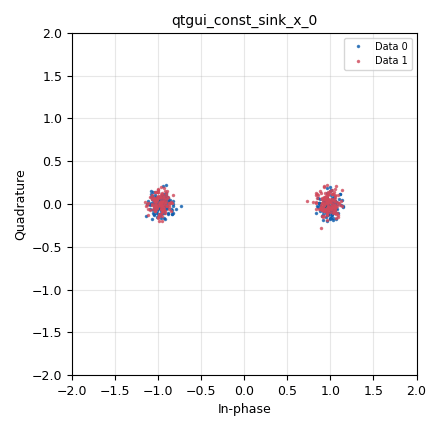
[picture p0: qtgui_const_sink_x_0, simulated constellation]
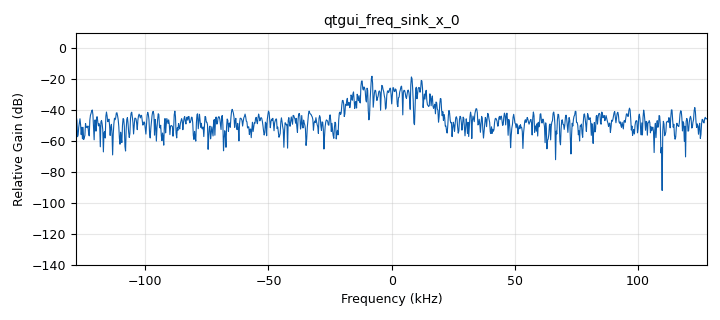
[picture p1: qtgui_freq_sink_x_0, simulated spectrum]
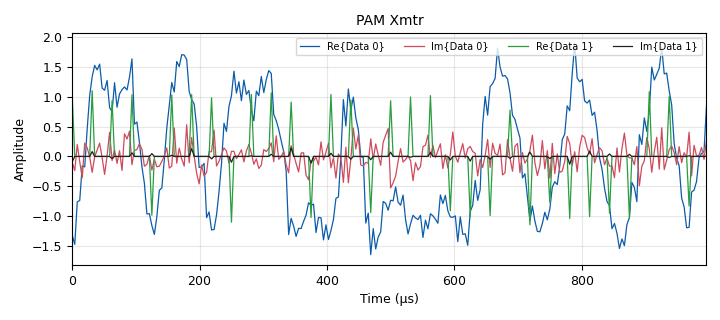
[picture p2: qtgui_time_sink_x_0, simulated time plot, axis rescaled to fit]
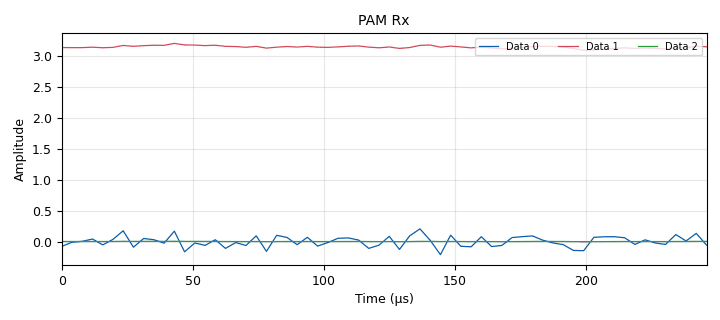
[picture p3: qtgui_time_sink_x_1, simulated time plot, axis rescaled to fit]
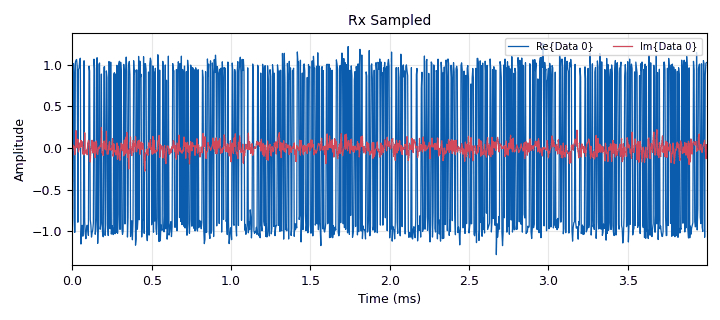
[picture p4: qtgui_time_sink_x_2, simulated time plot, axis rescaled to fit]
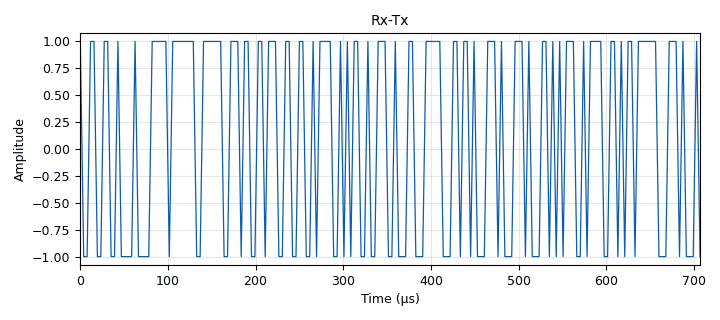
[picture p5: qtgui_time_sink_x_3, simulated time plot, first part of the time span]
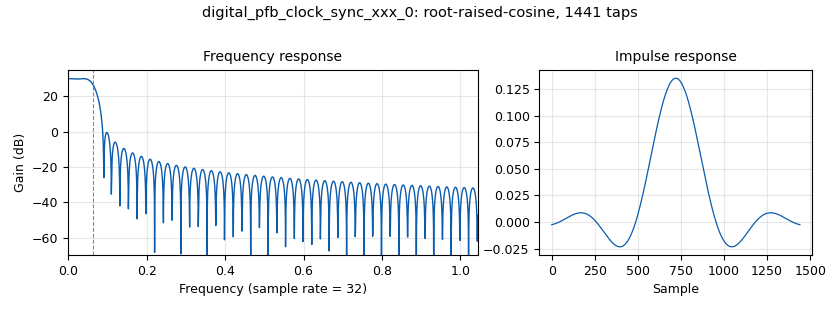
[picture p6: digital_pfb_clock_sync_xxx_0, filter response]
options:
  parameters:
    category: Custom
    generate_options: qt_gui
    id: top_block
    output_language: python
  states: {}

blocks:
- name: An
  id: variable_qtgui_range
  parameters:
    orient: Qt.Horizontal
    start: '0'
    step: '0.01'
    stop: '2'
    value: '0.3'
  states: {}
- name: G
  id: variable_qtgui_range
  parameters:
    orient: Qt.Horizontal
    start: '0'
    step: '0.1'
    stop: '2'
    value: '1'
  states: {}
- name: bpsk_const
  id: variable_constellation_rect
  parameters:
    const_points: '[-1,1]'
    imag_sect: '2'
    real_sect: '2'
    rot_sym: '2'
    sym_map: '[0, 1]'
    w_imag_sect: '1'
    w_real_sect: '1'
  states: {}
- name: fe
  id: variable_qtgui_range
  parameters:
    orient: Qt.Horizontal
    start: '-10'
    step: '0.1'
    stop: '10'
    value: '0'
  states: {}
- name: samp_rate
  id: variable
  parameters:
    value: '256000'
  states: {}
- name: samples_per_symbol
  id: variable
  parameters:
    value: '8'
  states: {}
- name: sym_dly
  id: variable_qtgui_range
  parameters:
    orient: Qt.Horizontal
    rangeType: int
    start: '0'
    step: '1'
    stop: '200'
    value: '7'
  states: {}
- name: theta1
  id: variable_qtgui_chooser
  parameters:
    num_opts: '4'
    option1: '0'
    option2: '90'
    option3: '180'
    type: real
    value: '0'
  states: {}
- name: theta2
  id: variable_qtgui_range
  parameters:
    orient: Qt.Horizontal
    start: '-180'
    step: '1'
    stop: '180'
    value: '0'
  states: {}
- name: analog_noise_source_x_0
  id: analog_noise_source_x
  parameters:
    amp: An
    noise_type: analog.GR_GAUSSIAN
    seed: '0'
    type: complex
  states: {}
- name: analog_sig_source_x_0
  id: analog_sig_source_x
  parameters:
    amp: '1'
    freq: fe
    offset: '0'
    phase: '0'
    samp_rate: samp_rate
    type: complex
    waveform: analog.GR_COS_WAVE
  states: {}
- name: blocks_add_const_vxx_0
  id: blocks_add_const_vxx
  parameters:
    const: '48'
    type: float
  states: {}
- name: blocks_add_const_vxx_0_0
  id: blocks_add_const_vxx
  parameters:
    const: '48'
    type: float
  states: {}
- name: blocks_add_xx_0
  id: blocks_add_xx
  parameters:
    type: complex
  states: {}
- name: blocks_add_xx_1
  id: blocks_add_xx
  parameters:
    type: float
  states: {}
- name: blocks_char_to_float_0_0_0
  id: blocks_char_to_float
  parameters:
    scale: '1'
  states: {}
- name: blocks_char_to_float_0_0_0_0
  id: blocks_char_to_float
  parameters:
    scale: '1'
  states: {}
- name: blocks_delay_0
  id: blocks_delay
  parameters:
    delay: int(3)
    type: complex
  states: {}
- name: blocks_delay_0_0
  id: blocks_delay
  parameters:
    delay: sym_dly
    type: byte
  states: {}
- name: blocks_delay_0_0_0
  id: blocks_delay
  parameters:
    delay: sym_dly*8
    type: byte
  states: {}
- name: blocks_file_sink_0
  id: blocks_file_sink
  parameters:
    file: /dev/pts/1
    type: byte
  states: {}
- name: blocks_file_sink_0_0_0
  id: blocks_file_sink
  parameters:
    file: /home/dfernandezp/sdr/BitsTx.txt
    type: byte
  states: {}
- name: blocks_file_sink_0_0_0_0
  id: blocks_file_sink
  parameters:
    file: /home/dfernandezp/sdr/BitsRx.txt
    type: byte
  states: {}
- name: blocks_float_to_uchar_0
  id: blocks_float_to_uchar
  parameters: {}
  states: {}
- name: blocks_float_to_uchar_0_0
  id: blocks_float_to_uchar
  parameters: {}
  states: {}
- name: blocks_multiply_const_vxx_0
  id: blocks_multiply_const_vxx
  parameters:
    const: G*numpy.exp(1j*numpy.pi*(theta1+theta2)/180.0)
    type: complex
  states: {}
- name: blocks_multiply_const_vxx_1
  id: blocks_multiply_const_vxx
  parameters:
    const: '-1'
    type: float
  states: {}
- name: blocks_multiply_xx_0
  id: blocks_multiply_xx
  parameters:
    type: complex
  states: {}
- name: blocks_throttle_0
  id: blocks_throttle
  parameters:
    samples_per_second: samp_rate
    type: complex
  states: {}
- name: blocks_unpack_k_bits_bb_0_0
  id: blocks_unpack_k_bits_bb
  parameters:
    k: '8'
  states: {}
- name: blocks_unpacked_to_packed_xx_0
  id: blocks_unpacked_to_packed_xx
  parameters:
    bits_per_chunk: '1'
    endianness: gr.GR_MSB_FIRST
    type: byte
  states: {}
- name: blocks_vector_source_x_0
  id: blocks_vector_source_x
  parameters:
    repeat: 'True'
    type: byte
    vector: list(ord(i) for i in 'The quick brown fox 0123456789...')
  states: {}
- name: digital_constellation_modulator_0
  id: digital_constellation_modulator
  parameters:
    constellation: bpsk_const
    differential: 'False'
    excess_bw: '0.35'
    samples_per_symbol: samples_per_symbol
  states: {}
- name: digital_constellation_receiver_cb_0
  id: digital_constellation_receiver_cb
  parameters:
    constellation: bpsk_const
    fmax: '100'
    fmin: '-100'
    loop_bw: '0.0625'
    showports: 'True'
  states: {}
- name: digital_pfb_clock_sync_xxx_0
  id: digital_pfb_clock_sync_xxx
  parameters:
    filter_size: '32'
    init_phase: '16'
    loop_bw: '0.06'
    max_dev: '1.5'
    osps: '1'
    sps: samples_per_symbol
    taps: firdes.root_raised_cosine(32,32,1.0/float(samples_per_symbol),0.35,45*32)
    type: ccf
  states: {}
- name: import_0
  id: import
  parameters:
    imports: import numpy
  states: {}
- name: interp_fir_filter_xxx_0
  id: interp_fir_filter_xxx
  parameters:
    interp: '8'
    taps: '1'
    type: ccc
  states: {}
- name: qtgui_const_sink_x_0
  id: qtgui_const_sink_x
  parameters:
    nconnections: '2'
    size: '256'
    type: complex
  states: {}
- name: qtgui_freq_sink_x_0
  id: qtgui_freq_sink_x
  parameters:
    bw: samp_rate
    fc: '0'
    fftsize: '1024'
    showports: 'True'
    type: complex
    wintype: firdes.WIN_BLACKMAN_hARRIS
  states: {}
- name: qtgui_time_sink_x_0
  id: qtgui_time_sink_x
  parameters:
    label1: ''
    label2: ''
    label3: ''
    label4: ''
    name: '"PAM Xmtr"'
    nconnections: '2'
    size: '256'
    srate: samp_rate
    type: complex
  states: {}
- name: qtgui_time_sink_x_1
  id: qtgui_time_sink_x
  parameters:
    label1: ''
    label2: ''
    label3: ''
    name: '"PAM Rx"'
    nconnections: '3'
    size: '64'
    srate: samp_rate
    type: float
  states: {}
- name: qtgui_time_sink_x_2
  id: qtgui_time_sink_x
  parameters:
    label1: ''
    label2: ''
    name: '"Rx Sampled"'
    size: '1024'
    srate: samp_rate
    type: complex
  states: {}
- name: qtgui_time_sink_x_3
  id: qtgui_time_sink_x
  parameters:
    label1: ''
    name: '"Rx-Tx"'
    size: '1024'
    srate: samp_rate
    type: float
  states: {}

connections:
- [analog_noise_source_x_0, '0', blocks_add_xx_0, '1']
- [analog_sig_source_x_0, '0', blocks_multiply_xx_0, '1']
- [blocks_add_const_vxx_0, '0', blocks_float_to_uchar_0, '0']
- [blocks_add_const_vxx_0_0, '0', blocks_float_to_uchar_0_0, '0']
- [blocks_add_xx_0, '0', blocks_multiply_const_vxx_0, '0']
- [blocks_add_xx_0, '0', qtgui_freq_sink_x_0, '0']
- [blocks_add_xx_0, '0', qtgui_time_sink_x_0, '0']
- [blocks_add_xx_1, '0', qtgui_time_sink_x_3, '0']
- [blocks_char_to_float_0_0_0, '0', blocks_add_const_vxx_0, '0']
- [blocks_char_to_float_0_0_0, '0', blocks_multiply_const_vxx_1, '0']
- [blocks_char_to_float_0_0_0_0, '0', blocks_add_const_vxx_0_0, '0']
- [blocks_char_to_float_0_0_0_0, '0', blocks_add_xx_1, '0']
- [blocks_delay_0, '0', interp_fir_filter_xxx_0, '0']
- [blocks_delay_0_0, '0', blocks_char_to_float_0_0_0_0, '0']
- [blocks_delay_0_0, '0', blocks_unpacked_to_packed_xx_0, '0']
- [blocks_delay_0_0_0, '0', blocks_char_to_float_0_0_0, '0']
- [blocks_float_to_uchar_0, '0', blocks_file_sink_0_0_0, '0']
- [blocks_float_to_uchar_0_0, '0', blocks_file_sink_0_0_0_0, '0']
- [blocks_multiply_const_vxx_0, '0', blocks_multiply_xx_0, '0']
- [blocks_multiply_const_vxx_1, '0', blocks_add_xx_1, '1']
- [blocks_multiply_xx_0, '0', digital_pfb_clock_sync_xxx_0, '0']
- [blocks_throttle_0, '0', blocks_add_xx_0, '0']
- [blocks_unpack_k_bits_bb_0_0, '0', blocks_delay_0_0_0, '0']
- [blocks_unpacked_to_packed_xx_0, '0', blocks_file_sink_0, '0']
- [blocks_vector_source_x_0, '0', blocks_unpack_k_bits_bb_0_0, '0']
- [blocks_vector_source_x_0, '0', digital_constellation_modulator_0, '0']
- [digital_constellation_modulator_0, '0', blocks_throttle_0, '0']
- [digital_constellation_receiver_cb_0, '0', blocks_delay_0_0, '0']
- [digital_constellation_receiver_cb_0, '1', qtgui_time_sink_x_1, '0']
- [digital_constellation_receiver_cb_0, '2', qtgui_time_sink_x_1, '1']
- [digital_constellation_receiver_cb_0, '3', qtgui_time_sink_x_1, '2']
- [digital_constellation_receiver_cb_0, '4', qtgui_const_sink_x_0, '1']
- [digital_pfb_clock_sync_xxx_0, '0', blocks_delay_0, '0']
- [digital_pfb_clock_sync_xxx_0, '0', digital_constellation_receiver_cb_0, '0']
- [digital_pfb_clock_sync_xxx_0, '0', qtgui_const_sink_x_0, '0']
- [digital_pfb_clock_sync_xxx_0, '0', qtgui_time_sink_x_2, '0']
- [interp_fir_filter_xxx_0, '0', qtgui_time_sink_x_0, '1']

metadata:
  file_format: 1
